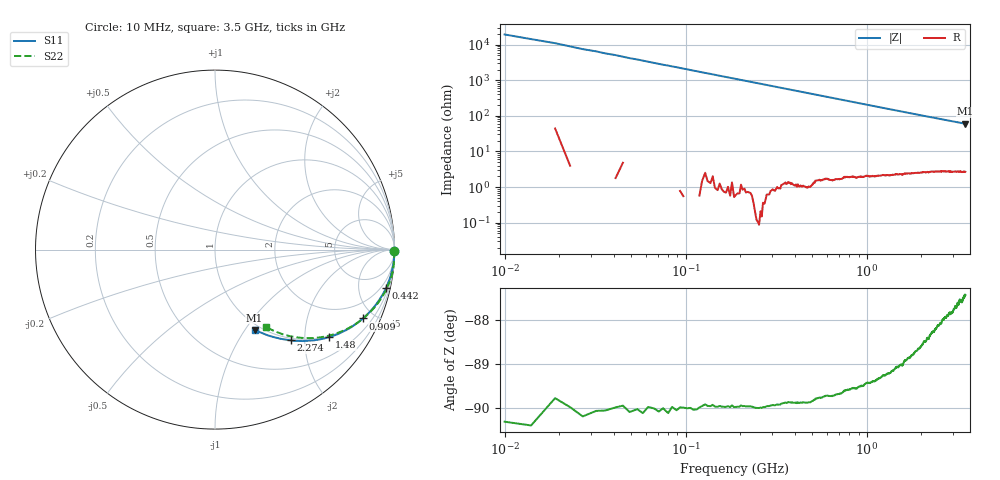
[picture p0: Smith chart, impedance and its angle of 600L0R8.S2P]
!  American Technical Ceramics  Date:  6/18/2004
!  One Norden Lane
!  Huntington Station,  NY.  11746-2102
!  Tel:  (631) 622-4700  Fax:  (631) 622-4748
!  Part Number  600L0R8AT  Mounting Orientation:  Horizontal
!  Description: Ultra Low ESR Microwave capacitors
!  Application: Coupling, Bypass, Tuning, DC Block
!  Filters, Matching
# GHZ S DB R 50
! Freq  |S11|  S11 Ph  |S21|  S21 Ph  |S12|  S12 Ph  |S22|  S22 Ph
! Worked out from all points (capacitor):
!   801 points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, 10 MHz to 3.5 GHz, reference 50 ohm
!   read as one part in series: C = 774 fF near 27 MHz
!   lowest |Z| = 59.9 ohm at 3.5 GHz (marker M1)
!   S11 on the Smith chart (normalised r, x): 10 MHz: open; 442 MHz: 0.97, -8.86; 909 MHz: 0.98, -4.31; 1.48 GHz: 0.97, -2.64; 2.274 GHz: 0.96, -1.72; 3.5 GHz: 0.93, -1.11
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0.01  -0.01 -0.3  -45.73 89.9  -46.26 90.0  -0.01 -0.4
0.019  -0.01 -0.6  -40.84 89.2  -40.82 89.2  -0.01 -0.5
0.036  -0.01 -1.1  -35.10 89.0  -35.08 88.9  -0.01 -1.0
0.049  -0.01 -1.5  -32.42 88.7  -32.37 88.2  -0.01 -1.4
0.062  -0.01 -1.9  -30.38 88.2  -30.35 88.3  -0.01 -1.8
0.075  -0.01 -2.2  -28.73 87.8  -28.68 87.8  -0.01 -2.2
0.097  -0.01 -2.9  -26.54 87.2  -26.49 87.2  -0.01 -2.8
0.123  -0.02 -3.6  -24.47 86.4  -24.42 86.4  -0.01 -3.5
0.171  -0.04 -5.0  -21.63 85.0  -21.58 85.0  -0.01 -4.9
0.254  -0.07 -7.4  -18.24 82.7  -18.19 82.7  -0.02 -7.2
0.328  -0.11 -9.5  -16.05 80.5  -16.01 80.5  -0.06 -9.3
0.442  -0.21 -12.7  -13.56 77.3  -13.52 77.3  -0.16 -12.4
0.595  -0.37 -16.9  -11.14 73.0  -11.10 73.0  -0.32 -16.5
0.747  -0.57 -20.9  -9.36 69.0  -9.32 68.9  -0.52 -20.4
0.909  -0.83 -25.0  -7.93 64.8  -7.89 64.8  -0.77 -24.4
1.175  -1.30 -31.1  -6.19 58.7  -6.15 58.6  -1.25 -30.2
1.48  -1.92 -37.4  -4.84 52.5  -4.79 52.4  -1.86 -36.0
1.755  -2.50 -42.3  -3.98 47.6  -3.94 47.5  -2.44 -40.5
2.274  -3.61 -50.0  -2.93 40.2  -2.89 40.1  -3.52 -47.1
2.34  -3.74 -50.9  -2.83 39.4  -2.79 39.3  -3.65 -47.8
2.92  -4.91 -57.7  -2.19 33.5  -2.15 33.4  -4.77 -53.0
3.5  -6.04 -63.8  -1.80 29.0  -1.77 28.9  -5.79 -56.7
